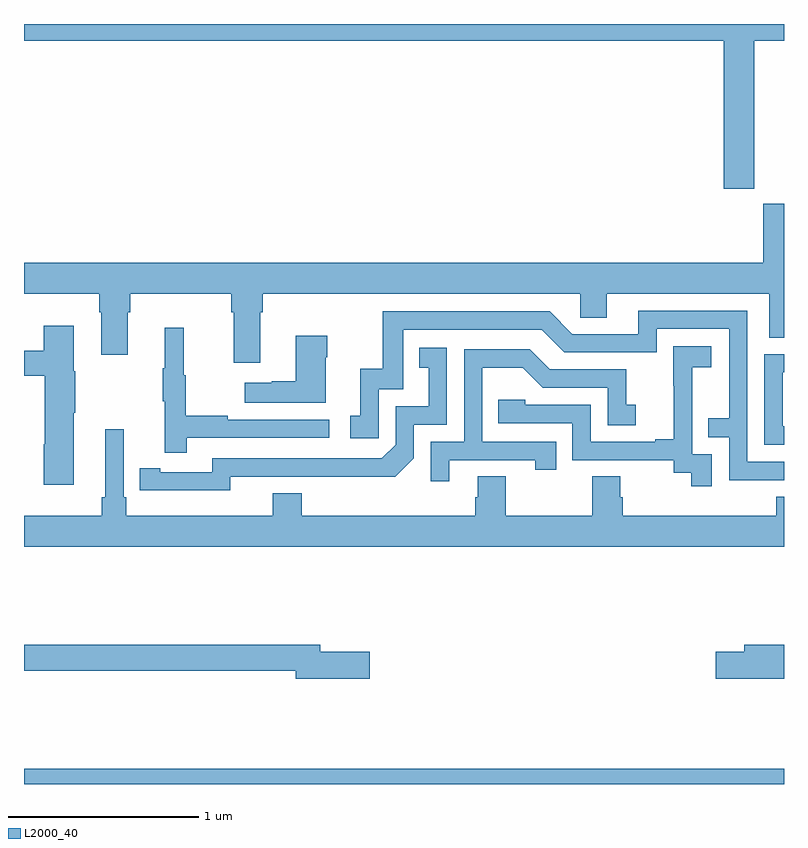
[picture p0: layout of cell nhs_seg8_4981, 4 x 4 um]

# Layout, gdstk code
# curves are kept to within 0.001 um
import gdstk
lib = gdstk.Library(unit=1e-6, precision=1e-09)
def R(c, l, rs):  # rectangles x0, y0, x1, y1
    for r in rs: c.add(gdstk.rectangle(r[:2], r[2:], *l))
def P(c, l, *ps):  # polygons
    for p in ps: c.add(gdstk.Polygon(p, *l))
L2000_40 = (2000, 40)

nhs_seg8_4981 = lib.new_cell('nhs_seg8_4981')
R(nhs_seg8_4981, L2000_40, [(411,1133.9,415,1133.98)])
P(nhs_seg8_4981, L2000_40, [(414.843,1137.812),(415,1137.812),(415,1137.9),(411,1137.9),(411,1137.812),(414.683,1137.812),(414.683,1137.033),(414.843,1137.033)],
  [(412.243,1136.384),(412.256,1136.384),(412.256,1136.48),(413.928,1136.48),(413.928,1136.353),(414.067,1136.353),(414.067,1136.48),(414.923,1136.48),(414.923,1136.248),(415,1136.248),(415,1136.953),(414.89,1136.953),(414.89,1136.644),(411,1136.644),(411,1136.48),(411.395,1136.48),(411.395,1136.384),(411.407,1136.384),(411.407,1136.16),(411.547,1136.16),(411.547,1136.384),(411.56,1136.384),(411.56,1136.48),(412.091,1136.48),(412.091,1136.384),(412.103,1136.384),(412.103,1136.118),(412.243,1136.118)],
  [(415,1135.596),(414.807,1135.596),(414.807,1136.391),(414.233,1136.391),(414.233,1136.268),(413.886,1136.268),(413.766,1136.388),(412.887,1136.388),(412.887,1136.086),(412.769,1136.086),(412.769,1135.839),(412.716,1135.839),(412.716,1135.719),(412.866,1135.719),(412.866,1135.977),(412.995,1135.977),(412.995,1136.292),(413.724,1136.292),(413.844,1136.172),(414.33,1136.172),(414.33,1136.295),(414.711,1136.295),(414.711,1135.826),(414.601,1135.826),(414.601,1135.725),(414.711,1135.725),(414.711,1135.5),(415,1135.5)],
  [(411.262,1135.855),(411.27,1135.855),(411.27,1136.073),(411.262,1136.073),(411.262,1136.311),(411.104,1136.311),(411.104,1136.179),(411,1136.179),(411,1136.05),(411.109,1136.05),(411.109,1135.688),(411.104,1135.688),(411.104,1135.476),(411.262,1135.476)],
  [(411.857,1135.722),(412.606,1135.722),(412.606,1135.818),(412.073,1135.818),(412.073,1135.838),(411.85,1135.838),(411.85,1136.052),(411.842,1136.052),(411.842,1136.302),(411.74,1136.302),(411.74,1136.089),(411.729,1136.089),(411.729,1135.915),(411.74,1135.915),(411.74,1135.644),(411.857,1135.644)],
  [(412.588,1136.147),(412.596,1136.147),(412.596,1136.26),(412.43,1136.26),(412.43,1136.021),(412.304,1136.021),(412.304,1136.011),(412.161,1136.011),(412.161,1135.907),(412.588,1135.907)],
  [(414.621,1135.635),(414.516,1135.635),(414.516,1135.865),(414.518,1135.865),(414.518,1136.093),(414.616,1136.093),(414.616,1136.203),(414.418,1136.203),(414.418,1135.997),(414.419,1135.997),(414.419,1135.714),(414.323,1135.714),(414.323,1135.701),(413.982,1135.701),(413.982,1135.896),(413.637,1135.896),(413.637,1135.923),(413.497,1135.923),(413.497,1135.8),(413.886,1135.8),(413.886,1135.605),(414.42,1135.605),(414.42,1135.537),(414.513,1135.537),(414.513,1135.467),(414.621,1135.467)],
  [(412.086,1135.518),(412.954,1135.517),(413.052,1135.614),(413.052,1135.791),(413.226,1135.791),(413.226,1136.197),(413.08,1136.197),(413.08,1136.091),(413.129,1136.091),(413.129,1135.887),(412.956,1135.887),(412.956,1135.686),(412.884,1135.614),(411.99,1135.614),(411.99,1135.542),(411.718,1135.542),(411.718,1135.562),(411.61,1135.562),(411.61,1135.446),(412.086,1135.445)],
  [(413.239,1135.605),(413.69,1135.605),(413.69,1135.554),(413.801,1135.554),(413.801,1135.701),(413.412,1135.701),(413.412,1136.09),(413.626,1136.09),(413.73,1135.986),(414.072,1135.986),(414.072,1135.788),(414.22,1135.788),(414.22,1135.897),(414.171,1135.897),(414.171,1136.082),(413.767,1136.082),(413.662,1136.187),(413.316,1136.187),(413.316,1135.701),(413.142,1135.701),(413.142,1135.494),(413.239,1135.494)],
  [(415,1135.782),(414.993,1135.782),(414.993,1136.067),(415,1136.067),(415,1136.163),(414.897,1136.163),(414.897,1135.686),(415,1135.686)],
  [(415,1135.411),(414.959,1135.411),(414.959,1135.312),(414.152,1135.312),(414.152,1135.41),(414.139,1135.41),(414.139,1135.52),(413.992,1135.52),(413.992,1135.312),(413.535,1135.312),(413.535,1135.52),(413.387,1135.52),(413.387,1135.41),(413.375,1135.41),(413.375,1135.312),(412.463,1135.312),(412.463,1135.429),(412.31,1135.429),(412.31,1135.312),(411.539,1135.312),(411.539,1135.408),(411.525,1135.408),(411.525,1135.768),(411.428,1135.768),(411.428,1135.408),(411.409,1135.408),(411.409,1135.312),(411,1135.312),(411,1135.148),(415,1135.148)],
  [(412.819,1134.596),(412.558,1134.596),(412.558,1134.632),(411,1134.632),(411,1134.496),(412.43,1134.496),(412.43,1134.454),(412.819,1134.454)],
  [(415,1134.632),(414.791,1134.632),(414.791,1134.596),(414.642,1134.596),(414.642,1134.454),(415,1134.454)])

lib.write_gds('nhs_seg8_4981.gds')
